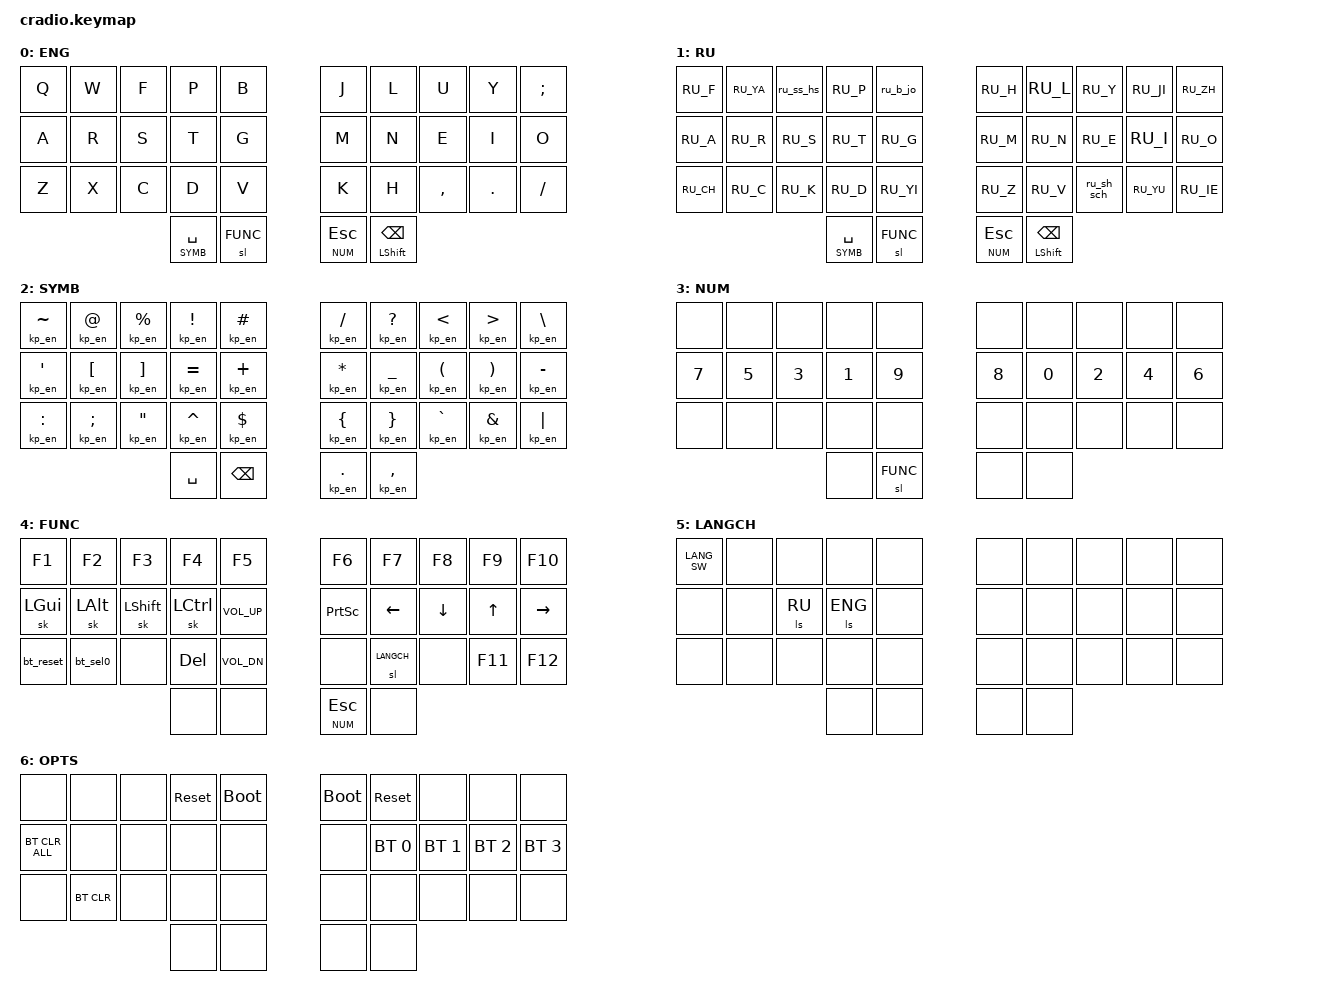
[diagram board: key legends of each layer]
// Copyright (c) 2022 The ZMK Contributors
// SPDX-License-Identifier: MIT

#include <behaviors.dtsi>
#include <dt-bindings/zmk/keys.h>
#include <dt-bindings/zmk/bt.h>
#include <dt-bindings/zmk/outputs.h>

#include "definitions/config.dtsi"
#include "definitions/layout.dtsi"
#include "definitions/russian.dtsi"
#include "features/behaviors.dtsi"
#include "features/combos.dtsi"
#include "features/conditional_layers.dtsi"

/ {
    keymap {
        compatible = "zmk,keymap";

        eng_layer {
            label = "ENG";
            bindings = <
            &kp Q      &kp W      &kp F      &kp P      &kp B          &kp J      &kp L      &kp U      &kp Y      &kp SEMI
            &kp A      &kp R      &kp S      &kp T      &kp G          &kp M      &kp N      &kp E      &kp I      &kp O
            &kp Z      &kp X      &kp C      &kp D      &kp V          &kp K      &kp H      &kp COMMA  &kp DOT    &kp FSLH
                                       &lt SYMB SPACE   &sl FUNC      &lt NUM ESC  &mt LSHIFT BSPC
            >;
        };

        ru_layer {
            label = "RU";
            bindings = <
            &kp RU_F   &kp RU_YA  &ru_ss_hs  &kp RU_P   &ru_b_jo     &kp RU_H  &kp RU_L  &kp RU_Y    &kp RU_JI  &kp RU_ZH
            &kp RU_A   &kp RU_R   &kp RU_S   &kp RU_T   &kp RU_G     &kp RU_M  &kp RU_N  &kp RU_E    &kp RU_I   &kp RU_O
            &kp RU_CH  &kp RU_C   &kp RU_K   &kp RU_D   &kp RU_YI    &kp RU_Z  &kp RU_V  &ru_sh_sch  &kp RU_YU  &kp RU_IE
                                       &lt SYMB SPACE   &sl FUNC     &lt NUM ESC  &mt LSHIFT BSPC
            >;
        };

        symb_layer {
            label = "SYMB";
            bindings = <
            &kp_en TILDE  &kp_en AT    &kp_en PRCNT  &kp_en EXCL   &kp_en HASH      &kp_en SLASH  &kp_en QMARK  &kp_en LT     &kp_en GT    &kp_en BSLH
            &kp_en SQT    &kp_en LBKT  &kp_en RBKT   &kp_en EQUAL  &kp_en PLUS      &kp_en STAR   &kp_en UNDER  &kp_en LPAR   &kp_en RPAR  &kp_en MINUS
            &kp_en COLON  &kp_en SEMI  &kp_en DQT    &kp_en CARET  &kp_en DLLR      &kp_en LBRC   &kp_en RBRC   &kp_en GRAVE  &kp_en AMPS  &kp_en PIPE
                                            &kp SPACE  &kp BSPC    &kp_en PERIOD    &kp_en COMMA
            >;
        };
        num_layer {
            label = "NUM";
            bindings = <
            &none      &none      &none      &none      &none          &none      &none      &none      &none      &none
            &kp N7     &kp N5     &kp N3     &kp N1     &kp N9         &kp N8     &kp N0     &kp N2     &kp N4     &kp N6
            &none      &none      &none      &none      &none          &none      &none      &none      &none      &none
                                             &none      &sl FUNC       &none      &none
            >;
        };

        func_layer {
            label = "FUNC";
            bindings = <
            &kp F1      &kp F2        &kp F3      &kp F4      &kp F5            &kp F6     &kp F7        &kp F8      &kp F9     &kp F10
            &sk LGUI    &sk LALT      &sk LSHIFT  &sk LCTRL   &kp C_VOL_UP      &kp PSCRN  &kp LEFT      &kp DOWN    &kp UP     &kp RIGHT
            &bt_reset   &bt_sel0      &none       &kp DEL     &kp C_VOL_DN      &none      &sl LANGCH    &none       &kp F11    &kp F12
                                                  &none       &none             &lt NUM ESC   &none
            >;
        };

        lang_layer {
            label = "LANGCH";
            bindings = <
            &kp LANG_SW  &none      &none      &none      &none          &none      &none      &none      &none      &none
            &none        &none      &ls RU     &ls ENG    &none          &none      &none      &none      &none      &none
            &none        &none      &none      &none      &none          &none      &none      &none      &none      &none
                                               &none      &none          &none      &none
            >;
        };

        opts_layer {
            label = "OPTS";
            bindings = <
            &none           &none       &none  &sys_reset  &bootloader  &bootloader  &sys_reset    &none         &none         &none
            &bt BT_CLR_ALL  &none       &none  &none       &none        &none        &bt BT_SEL 0  &bt BT_SEL 1  &bt BT_SEL 2  &bt BT_SEL 3
            &none           &bt BT_CLR  &none  &none       &none        &none        &none         &none         &none         &none
                                               &none       &none        &none        &none
            >;
        };

    };
};
